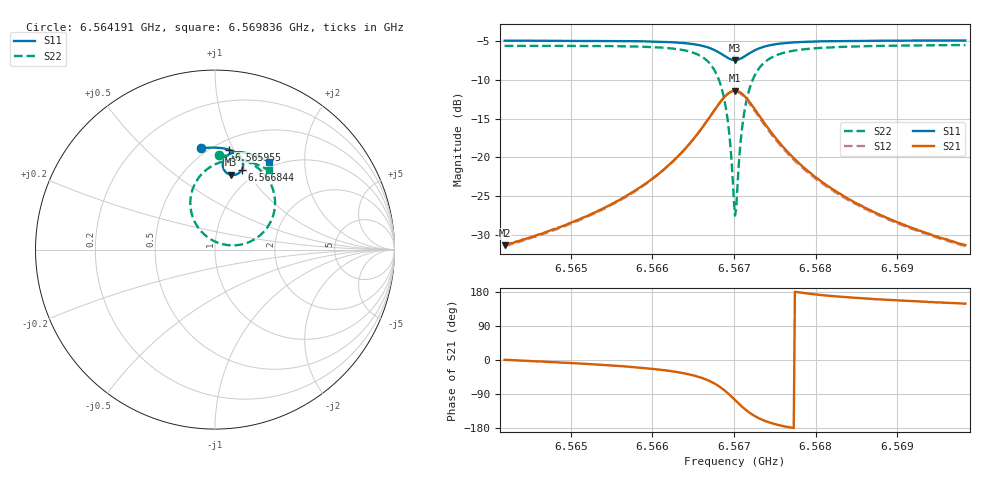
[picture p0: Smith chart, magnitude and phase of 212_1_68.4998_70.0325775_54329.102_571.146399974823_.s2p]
#  HZ  S  RI  R  50.00
! Rohde & Schwarz Vector Network Analyzer
! Rohde-Schwarz,ZNB20-2Port,1311601062101988,3.16
! Created: UTC 3/20/2024, 4:58:04 PM
! freq[Hz]  re:S11  im:S11  re:S21  im:S21  re:S12  im:S12  re:S22  im:S22
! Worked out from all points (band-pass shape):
!   401 points, 6.564191 GHz to 6.569836 GHz, reference 50 ohm
!   highest |S21| = -11.38 dB at 6.567014 GHz (marker M1); lowest = -31.4 dB at 6.564191 GHz (marker M2)
!   |S21| within 3 dB of the highest: 6.566731 GHz to 6.567295 GHz (564.4 kHz wide, 0.00859 % of centre)
!   lowest |S11| = -7.4 dB at 6.567014 GHz (marker M3), VSWR 2.48, Z = 40.7 + j41.4 ohm
!   |S11| at or under -10 dB: nowhere
!   |S22| runs from -27.6 to -5.5 dB; largest |S21 - S12| = 0.013
!   S11 on the Smith chart (normalised r, x): 6.564191 GHz: 0.46, +0.77; 6.565955 GHz: 0.59, +0.96; 6.566844 GHz: 0.85, +0.96; 6.569836 GHz: 0.92, +1.34
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6.5641907e9  -0.0753 0.5642  0.027 0.000176  0.0266 -0.000297  0.0244 0.5259
6.5651364e9  0.00146 0.5681  0.0399 -0.00672  0.0391 -0.00727  0.1125 0.5142
6.565955e9  0.0763 0.5574  0.0645 -0.0265  0.0636 -0.0273  0.2137 0.4724
6.566082e9  0.0894 0.5532  0.0709 -0.0335  0.0699 -0.0344  0.2342 0.4582
6.5663925e9  0.1244 0.5347  0.0914 -0.0647  0.0901 -0.066  0.2928 0.3966
6.5666042e9  0.1485 0.5072  0.1046 -0.1125  0.1023 -0.1148  0.3308 0.3043
6.5667454e9  0.1571 0.4743  0.0979 -0.17  0.0937 -0.1729  0.3254 0.1946
6.5668442e9  0.1489 0.4439  0.0663 -0.2221  0.0589 -0.2248  0.2696 0.0969
6.5668865e9  0.1391 0.4312  0.041 -0.2429  0.032 -0.2447  0.2232 0.0591
6.5669288e9  0.1247 0.4213  0.00784 -0.2585  -0.00267 -0.2585  0.1626 0.0324
6.5669994e9  0.094 0.4156  -0.0589 -0.263  -0.07 -0.2583  0.0436 0.0298
6.5670135e9  0.0876 0.4166  -0.0725 -0.26  -0.0834 -0.2543  0.02 0.0368
6.5670418e9  0.0755 0.4209  -0.0983 -0.2498  -0.1083 -0.2424  -0.024 0.0575
6.5670841e9  0.0599 0.4318  -0.1313 -0.2265  -0.1391 -0.2169  -0.0784 0.1029
6.5671264e9  0.0494 0.4463  -0.1549 -0.197  -0.16 -0.1863  -0.1146 0.1575
6.5671829e9  0.0433 0.467  -0.1713 -0.1556  -0.1732 -0.1452  -0.1359 0.2316
6.5672535e9  0.0456 0.4904  -0.1738 -0.1101  -0.1731 -0.1011  -0.132 0.3112
6.5673664e9  0.0605 0.5163  -0.1581 -0.0591  -0.1554 -0.053  -0.0931 0.3974
6.5675075e9  0.0837 0.5331  -0.1318 -0.0246  -0.129 -0.0207  -0.0358 0.4538
6.5679592e9  0.1444 0.5427  -0.077 0.00812  -0.0751 0.00946  0.0916 0.4983
6.5689048e9  0.2305 0.5207  -0.0372 0.0146  -0.0363 0.0148  0.2211 0.479
6.5698363e9  0.2985 0.4869  -0.0231 0.014  -0.0225 0.0141  0.3004 0.4409
